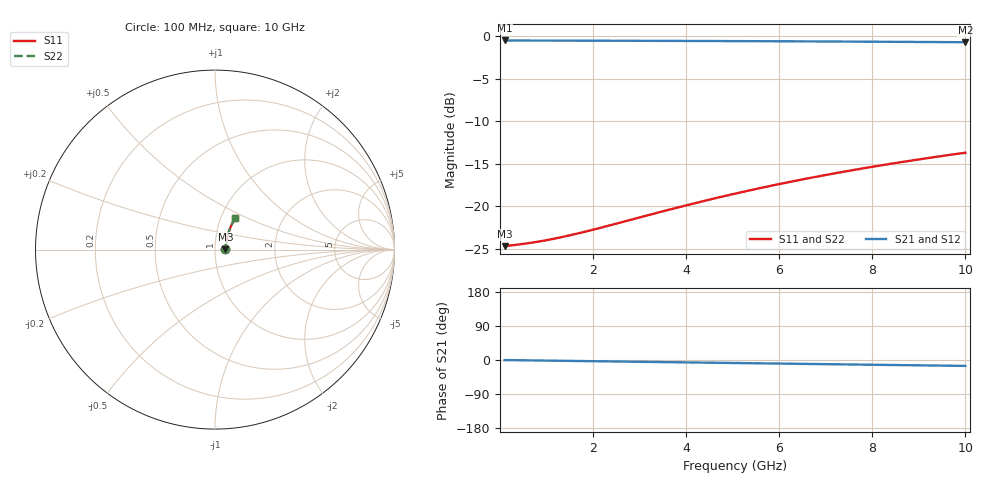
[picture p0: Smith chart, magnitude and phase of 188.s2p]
# Hz S RI R 50.00
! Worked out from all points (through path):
!   100 points, 100 MHz to 10 GHz, reference 50 ohm
!   highest |S21| = -0.52 dB at 100 MHz (marker M1); lowest = -0.7 dB at 10 GHz (marker M2)
!   group delay of S21, straight-line fit = 4.33 ps
!   lowest |S11| = -24.7 dB at 100 MHz (marker M3), VSWR 1.12, Z = 56.2 + j0.211 ohm
!   |S11| at or under -10 dB: start of sweep to end of sweep
!   |S22| runs from -24.7 to -13.7 dB; largest |S21 - S12| = 0
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1e8  0.0582 0.00187  0.9418 -0.0026  0.9418 -0.0026  0.0582 0.00187
6e8  0.0596 0.0112  0.9404 -0.0156  0.9404 -0.0156  0.0596 0.0112
9e8  0.0602 0.0167  0.9398 -0.0234  0.9398 -0.0234  0.0602 0.0167
1.1e9  0.0606 0.0204  0.9394 -0.0285  0.9394 -0.0285  0.0606 0.0204
1.3e9  0.061 0.0241  0.9389 -0.0337  0.9389 -0.0337  0.061 0.0241
1.5e9  0.0614 0.0278  0.9385 -0.0389  0.9385 -0.0389  0.0614 0.0278
1.8e9  0.0622 0.0334  0.9377 -0.0466  0.9377 -0.0466  0.0622 0.0334
2.3e9  0.0635 0.0425  0.9363 -0.0595  0.9363 -0.0595  0.0635 0.0425
3.4e9  0.0672 0.0626  0.9325 -0.0876  0.9325 -0.0876  0.0672 0.0626
3.9e9  0.0692 0.0716  0.9304 -0.1002  0.9304 -0.1002  0.0692 0.0716
4.3e9  0.071 0.0787  0.9285 -0.1103  0.9285 -0.1103  0.071 0.0787
4.7e9  0.0729 0.0858  0.9264 -0.1204  0.9264 -0.1204  0.0729 0.0858
5.1e9  0.075 0.0929  0.9243 -0.1304  0.9243 -0.1304  0.075 0.0929
5.5e9  0.0772 0.0998  0.9219 -0.1403  0.9219 -0.1403  0.0772 0.0998
5.9e9  0.0796 0.1068  0.9194 -0.1502  0.9194 -0.1502  0.0796 0.1068
6.3e9  0.0821 0.1136  0.9168 -0.16  0.9168 -0.16  0.0821 0.1136
6.7e9  0.0847 0.1204  0.914 -0.1697  0.914 -0.1697  0.0847 0.1204
7.5e9  0.0904 0.1338  0.908 -0.189  0.908 -0.189  0.0904 0.1338
7.9e9  0.0935 0.1403  0.9047 -0.1985  0.9047 -0.1985  0.0935 0.1403
8.4e9  0.0975 0.1484  0.9005 -0.2103  0.9005 -0.2103  0.0975 0.1484
9.2e9  0.1043 0.1611  0.8933 -0.2288  0.8933 -0.2288  0.1043 0.1611
1e10  0.1116 0.1733  0.8855 -0.247  0.8855 -0.247  0.1116 0.1733
